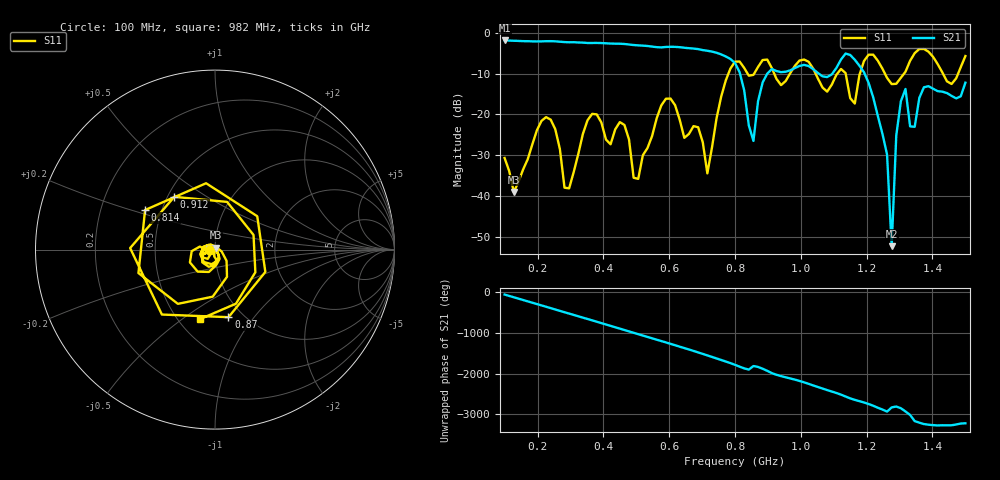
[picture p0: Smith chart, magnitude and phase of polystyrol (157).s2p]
! NanoVNA-App
! Date: 2025-09-25 15:31:06
! Start: 100MHz Stop: 1,5GHz Points: 101
! S-Parameter data: F S11 S21 S12 S22
# Hz S RI R 50
!  Frequency  S11_Real  S11_Imag  S21_Real  S21_Imag  S12_Real  S12_Imag  S22_Real  S22_Imag
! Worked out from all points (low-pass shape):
!   101 points, 100 MHz to 1.5 GHz, reference 50 ohm
!   highest |S21| = -1.80 dB at 100 MHz (marker M1); lowest = -52.4 dB at 1.276 GHz (marker M2)
!   |S21| within 3 dB of the highest: start of sweep to 742.9 MHz
!   lowest |S11| = -39.1 dB at 128 MHz (marker M3), VSWR 1.02, Z = 50.3 + j1.07 ohm
!   |S11| at or under -10 dB: start of sweep to 779.8 MHz; 1.045 GHz to 1.11 GHz (65.34 MHz wide, 6.06 % of centre); 1.256 GHz to 1.313 GHz (57.33 MHz wide, 4.46 % of centre) (the widest 3 of 7)
!   S12 and S22 are empty: the file has one direction only
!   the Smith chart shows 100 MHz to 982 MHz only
!   S11 on the Smith chart (normalised r, x): 100 MHz: 0.94, -0.01; 814 MHz: 0.40, +0.22; 870 MHz: 0.86, -0.76; 912 MHz: 0.54, +0.37; 982 MHz: 0.63, -0.58
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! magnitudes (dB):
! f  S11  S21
! 100 MHz  -30.7  -1.8
! 128 MHz  -39.1  -1.9
! 212 MHz  -21.6  -2.0
! 282 MHz  -38.0  -2.2
! 338 MHz  -24.7  -2.3
! 464 MHz  -22.6  -2.7
! 506 MHz  -35.8  -3.0
! 576 MHz  -17.8  -3.5
! 716 MHz  -34.5  -4.3
! 800 MHz  -7.0  -7.4
! 814 MHz  -7.0  -9.6
! 856 MHz  -10.3  -26.5
! 870 MHz  -8.3  -16.7
! 912 MHz  -8.6  -8.8
! 982 MHz  -8.0  -8.6
! 1.038 GHz  -8.8  -8.9
! 1.192 GHz  -6.8  -9.6
! 1.262 GHz  -11.0  -29.9
! 1.276 GHz  -12.5  -52.4
! 1.29 GHz  -12.5  -25.1
! 1.318 GHz  -9.5  -13.7
! 1.5 GHz  -5.6  -12.2
